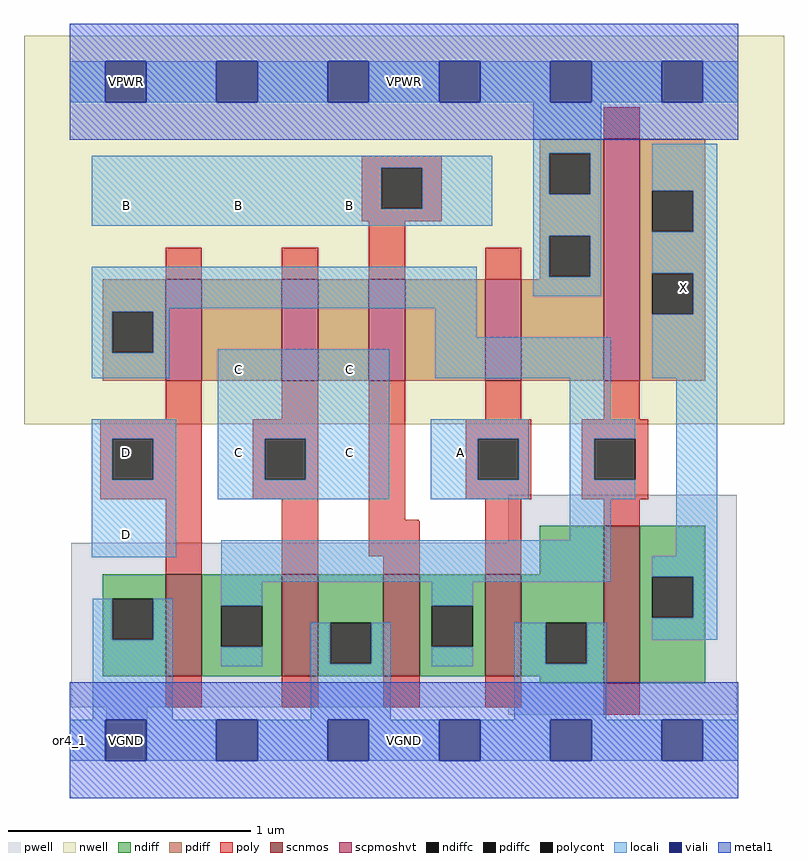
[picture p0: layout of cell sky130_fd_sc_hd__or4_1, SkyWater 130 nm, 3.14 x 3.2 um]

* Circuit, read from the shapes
.subckt sky130_fd_sc_hd__or4_1 A B C D VGND VNB VPB VPWR X
XM1 n1 D VGND VNB sky130_fd_pr__nfet_01v8 w=0.42 l=0.15
XM2 VGND C n1 VNB sky130_fd_pr__nfet_01v8 w=0.42 l=0.15
XM3 n1 B VGND VNB sky130_fd_pr__nfet_01v8 w=0.42 l=0.15
XM4 VGND A n1 VNB sky130_fd_pr__nfet_01v8 w=0.42 l=0.15
XM5 X n1 VGND VNB sky130_fd_pr__nfet_01v8 w=0.65 l=0.15
XM6 n2 D n1 VPB sky130_fd_pr__pfet_01v8_hvt w=0.42 l=0.15
XM7 n3 C n2 VPB sky130_fd_pr__pfet_01v8_hvt w=0.42 l=0.15
XM8 n4 B n3 VPB sky130_fd_pr__pfet_01v8_hvt w=0.42 l=0.15
XM9 VPWR A n4 VPB sky130_fd_pr__pfet_01v8_hvt w=0.42 l=0.15
XM10 X n1 VPWR VPB sky130_fd_pr__pfet_01v8_hvt w=1 l=0.15
.ends

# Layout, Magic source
magic
tech sky130B
magscale 1 2
<< nwell >>
rect -38 261 590 582
<< pwell >>
rect 362 163 551 203
rect 1 27 551 163
rect 30 -17 64 27
rect 362 21 551 27
<< scnmos >>
rect 79 53 109 137
rect 175 53 205 137
rect 259 53 289 137
rect 343 53 373 137
rect 441 47 471 177
<< scpmoshvt >>
rect 79 297 109 381
rect 175 297 205 381
rect 247 297 277 381
rect 343 297 373 381
rect 441 297 471 497
<< ndiff >>
rect 388 137 441 177
rect 27 117 79 137
rect 27 83 35 117
rect 69 83 79 117
rect 27 53 79 83
rect 109 111 175 137
rect 109 77 125 111
rect 159 77 175 111
rect 109 53 175 77
rect 205 97 259 137
rect 205 63 215 97
rect 249 63 259 97
rect 205 53 259 63
rect 289 111 343 137
rect 289 77 299 111
rect 333 77 343 111
rect 289 53 343 77
rect 373 97 441 137
rect 373 63 393 97
rect 427 63 441 97
rect 373 53 441 63
rect 388 47 441 53
rect 471 135 525 177
rect 471 101 481 135
rect 515 101 525 135
rect 471 47 525 101
<< pdiff >>
rect 388 485 441 497
rect 388 451 396 485
rect 430 451 441 485
rect 388 417 441 451
rect 388 383 396 417
rect 430 383 441 417
rect 388 381 441 383
rect 27 354 79 381
rect 27 320 35 354
rect 69 320 79 354
rect 27 297 79 320
rect 109 297 175 381
rect 205 297 247 381
rect 277 297 343 381
rect 373 297 441 381
rect 471 454 525 497
rect 471 420 481 454
rect 515 420 525 454
rect 471 386 525 420
rect 471 352 481 386
rect 515 352 525 386
rect 471 297 525 352
<< ndiffc >>
rect 35 83 69 117
rect 125 77 159 111
rect 215 63 249 97
rect 299 77 333 111
rect 393 63 427 97
rect 481 101 515 135
<< pdiffc >>
rect 396 451 430 485
rect 396 383 430 417
rect 35 320 69 354
rect 481 420 515 454
rect 481 352 515 386
<< poly >>
rect 441 497 471 523
rect 241 473 307 483
rect 241 439 257 473
rect 291 439 307 473
rect 241 429 307 439
rect 79 381 109 407
rect 175 381 205 407
rect 247 381 277 429
rect 343 381 373 407
rect 79 265 109 297
rect 175 265 205 297
rect 25 249 109 265
rect 25 215 35 249
rect 69 215 109 249
rect 25 199 109 215
rect 151 249 205 265
rect 151 215 161 249
rect 195 215 205 249
rect 151 199 205 215
rect 79 137 109 199
rect 175 137 205 199
rect 247 182 277 297
rect 343 265 373 297
rect 441 265 471 297
rect 327 249 381 265
rect 327 215 337 249
rect 371 215 381 249
rect 327 199 381 215
rect 423 249 478 265
rect 423 215 433 249
rect 467 215 478 249
rect 423 199 478 215
rect 247 181 288 182
rect 247 152 289 181
rect 259 137 289 152
rect 343 137 373 199
rect 441 177 471 199
rect 79 27 109 53
rect 175 27 205 53
rect 259 27 289 53
rect 343 27 373 53
rect 441 21 471 47
<< polycont >>
rect 257 439 291 473
rect 35 215 69 249
rect 161 215 195 249
rect 337 215 371 249
rect 433 215 467 249
<< locali >>
rect 0 527 29 561
rect 63 527 121 561
rect 155 527 213 561
rect 247 527 305 561
rect 339 527 397 561
rect 431 527 489 561
rect 523 527 552 561
rect 383 485 439 527
rect 18 473 349 483
rect 18 439 257 473
rect 291 439 349 473
rect 18 425 349 439
rect 383 451 396 485
rect 430 451 439 485
rect 383 417 439 451
rect 18 357 336 391
rect 383 383 396 417
rect 430 383 439 417
rect 383 367 439 383
rect 481 454 535 493
rect 515 420 535 454
rect 481 386 535 420
rect 18 354 82 357
rect 18 320 35 354
rect 69 320 82 354
rect 302 333 336 357
rect 515 352 535 386
rect 18 299 82 320
rect 18 249 88 265
rect 18 215 35 249
rect 69 215 88 249
rect 18 151 88 215
rect 122 249 264 323
rect 302 299 447 333
rect 481 299 535 352
rect 413 265 447 299
rect 122 215 161 249
rect 195 215 264 249
rect 122 199 264 215
rect 298 249 379 265
rect 298 215 337 249
rect 371 215 379 249
rect 298 199 379 215
rect 413 249 467 265
rect 413 215 433 249
rect 413 199 467 215
rect 413 165 447 199
rect 125 131 447 165
rect 501 152 535 299
rect 481 135 535 152
rect 19 83 35 117
rect 69 83 85 117
rect 19 17 85 83
rect 125 111 159 131
rect 299 111 333 131
rect 125 61 159 77
rect 199 63 215 97
rect 249 63 265 97
rect 199 17 265 63
rect 515 101 535 135
rect 299 61 333 77
rect 367 63 393 97
rect 427 63 443 97
rect 481 83 535 101
rect 367 17 443 63
rect 0 -17 29 17
rect 63 -17 121 17
rect 155 -17 213 17
rect 247 -17 305 17
rect 339 -17 397 17
rect 431 -17 489 17
rect 523 -17 552 17
<< viali >>
rect 29 527 63 561
rect 121 527 155 561
rect 213 527 247 561
rect 305 527 339 561
rect 397 527 431 561
rect 489 527 523 561
rect 29 -17 63 17
rect 121 -17 155 17
rect 213 -17 247 17
rect 305 -17 339 17
rect 397 -17 431 17
rect 489 -17 523 17
<< metal1 >>
rect 0 561 552 592
rect 0 527 29 561
rect 63 527 121 561
rect 155 527 213 561
rect 247 527 305 561
rect 339 527 397 561
rect 431 527 489 561
rect 523 527 552 561
rect 0 496 552 527
rect 0 17 552 48
rect 0 -17 29 17
rect 63 -17 121 17
rect 155 -17 213 17
rect 247 -17 305 17
rect 339 -17 397 17
rect 431 -17 489 17
rect 523 -17 552 17
rect 0 -48 552 -17
<< labels >>
flabel locali s 214 221 248 255 0 FreeSans 400 0 0 0 C
port 3 nsew signal input
flabel locali s 306 221 340 255 0 FreeSans 400 0 0 0 A
port 1 nsew signal input
flabel locali s 490 357 524 391 0 FreeSans 200 0 0 0 X
port 9 nsew signal output
flabel locali s 122 221 156 255 0 FreeSans 400 0 0 0 C
port 3 nsew signal input
flabel locali s 214 425 248 459 0 FreeSans 400 0 0 0 B
port 2 nsew signal input
flabel locali s 122 425 156 459 0 FreeSans 400 0 0 0 B
port 2 nsew signal input
flabel locali s 122 289 156 323 0 FreeSans 400 0 0 0 C
port 3 nsew signal input
flabel locali s 30 425 64 459 0 FreeSans 400 0 0 0 B
port 2 nsew signal input
flabel locali s 214 289 248 323 0 FreeSans 400 0 0 0 C
port 3 nsew signal input
flabel locali s 30 221 64 255 0 FreeSans 400 0 0 0 D
port 4 nsew signal input
flabel locali s 30 153 64 187 0 FreeSans 400 0 0 0 D
port 4 nsew signal input
flabel metal1 s 30 527 64 561 0 FreeSans 200 0 0 0 VPWR
port 8 nsew power bidirectional abutment
flabel metal1 s 30 -17 64 17 0 FreeSans 200 0 0 0 VGND
port 5 nsew ground bidirectional abutment
flabel nwell s 30 527 64 561 0 FreeSans 200 0 0 0 VPB
port 7 nsew power bidirectional
flabel pwell s 30 -17 64 17 0 FreeSans 200 0 0 0 VNB
port 6 nsew ground bidirectional
rlabel comment s 0 0 0 0 4 or4_1
rlabel metal1 s 0 -48 552 48 1 VGND
port 5 nsew ground bidirectional abutment
rlabel metal1 s 0 496 552 592 1 VPWR
port 8 nsew power bidirectional abutment
<< properties >>
string FIXED_BBOX 0 0 552 544
string GDS_END 1054298
string GDS_FILE $PDKPATH/libs.ref/sky130_fd_sc_hd/gds/sky130_fd_sc_hd.gds
string GDS_START 1048276
string LEFclass CORE
string LEFsite unithd
string LEFsymmetry X Y R90
string path 0.000 0.000 2.760 0.000 
<< end >>
